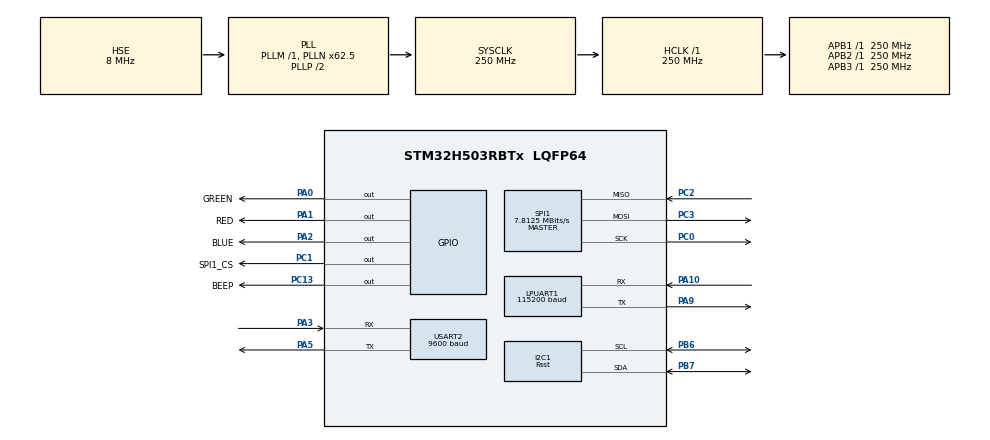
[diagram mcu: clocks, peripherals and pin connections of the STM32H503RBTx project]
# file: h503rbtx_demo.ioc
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BOOTPATH.BootPathName=LEGACY
BOOTPATH.UserSelectedBootPath=LEGACY
I2C1.I2C_Speed_Mode=I2C_Fast
I2C1.Timing=0x10C043E5
LPUART1.BaudRate=115200
Mcu.Family=STM32H5
Mcu.Name=STM32H503RBTx
Mcu.Package=LQFP64
NVIC.I2C1_ER_IRQn=true\:0\:0\:false\:false\:true\:true\:true\:true
NVIC.I2C1_EV_IRQn=true\:0\:0\:false\:false\:true\:true\:true\:true
NVIC.LPUART1_IRQn=true\:0\:0\:false\:false\:true\:true\:true\:true
NVIC.PriorityGroup=NVIC_PRIORITYGROUP_4
NVIC.SPI1_IRQn=true\:0\:0\:false\:false\:true\:true\:true\:true
NVIC.USART2_IRQn=true\:0\:0\:false\:false\:true\:true\:true\:true
PA0.GPIO_Label=GREEN
PA0.GPIO_PuPd=GPIO_NOPULL
PA0.PinState=GPIO_PIN_SET
PA0.Signal=GPIO_Output
PA1.GPIO_Label=RED
PA1.GPIO_PuPd=GPIO_NOPULL
PA1.PinState=GPIO_PIN_SET
PA1.Signal=GPIO_Output
PA10.Mode=Asynchronous
PA10.Signal=LPUART1_RX
PA13(JTMS/SWDIO).Mode=Serial_Wire
PA13(JTMS/SWDIO).Signal=DEBUG_JTMS-SWDIO
PA14(JTCK/SWCLK).Mode=Serial_Wire
PA14(JTCK/SWCLK).Signal=DEBUG_JTCK-SWCLK
PA2.GPIO_Label=BLUE
PA2.GPIO_PuPd=GPIO_NOPULL
PA2.PinState=GPIO_PIN_SET
PA2.Signal=GPIO_Output
PA3.GPIO_ModeDefaultPP=GPIO_MODE_AF_OD
PA3.GPIO_PuPd=GPIO_PULLUP
PA3.GPIO_Speed=GPIO_SPEED_FREQ_VERY_HIGH
PA3.Mode=Asynchronous
PA3.Signal=USART2_RX
PA5.GPIO_ModeDefaultPP=GPIO_MODE_AF_OD
PA5.GPIO_PuPd=GPIO_PULLUP
PA5.GPIO_Speed=GPIO_SPEED_FREQ_VERY_HIGH
PA5.Mode=Asynchronous
PA5.Signal=USART2_TX
PA9.Mode=Asynchronous
PA9.Signal=LPUART1_TX
PB6.GPIO_FM6=SBS_FASTMODEPLUS_PB6
PB6.Mode=I2C
PB6.Signal=I2C1_SCL
PB7.GPIO_FM7=SBS_FASTMODEPLUS_PB7
PB7.Mode=I2C
PB7.Signal=I2C1_SDA
PC0.GPIO_Mode=GPIO_MODE_AF_PP
PC0.GPIO_PuPd=GPIO_NOPULL
PC0.GPIO_Speed=GPIO_SPEED_FREQ_VERY_HIGH
PC0.Mode=Full_Duplex_Master
PC0.Signal=SPI1_SCK
PC1.GPIO_Label=SPI1_CS
PC1.GPIO_ModeDefaultOutputPP=GPIO_MODE_OUTPUT_PP
PC1.GPIO_PuPd=GPIO_PULLUP
PC1.GPIO_Speed=GPIO_SPEED_FREQ_VERY_HIGH
PC1.Signal=GPIO_Output
PC13.GPIO_Label=BEEP
PC13.GPIO_ModeDefaultOutputPP=GPIO_MODE_OUTPUT_PP
PC13.GPIO_PuPd=GPIO_PULLUP
PC13.PinState=GPIO_PIN_SET
PC13.Signal=GPIO_Output
PC2.GPIO_PuPd=GPIO_NOPULL
PC2.GPIO_Speed=GPIO_SPEED_FREQ_VERY_HIGH
PC2.Mode=Full_Duplex_Master
PC2.Signal=SPI1_MISO
PC3.GPIO_PuPd=GPIO_NOPULL
PC3.GPIO_Speed=GPIO_SPEED_FREQ_VERY_HIGH
PC3.Mode=Full_Duplex_Master
PC3.Signal=SPI1_MOSI
PH0-OSC_IN(PH0).Mode=HSE-External-Oscillator
PH0-OSC_IN(PH0).Signal=RCC_OSC_IN
PH1-OSC_OUT(PH1).Mode=HSE-External-Oscillator
PH1-OSC_OUT(PH1).Signal=RCC_OSC_OUT
ProjectManager.HeapSize=0x200
ProjectManager.StackSize=0x400
ProjectManager.TargetToolchain=EWARM V9.20
RCC.ADCFreq_Value=250000000
RCC.AHBFreq_Value=250000000
RCC.APB1Freq_Value=250000000
RCC.APB1TimFreq_Value=250000000
RCC.APB2Freq_Value=250000000
RCC.APB2TimFreq_Value=250000000
RCC.APB3Freq_Value=250000000
RCC.CSI_VALUE=4000000
RCC.CortexFreq_Value=250000000
RCC.EPOD_VALUE=8000000
RCC.HCLKFreq_Value=250000000
RCC.HSE_VALUE=8000000
RCC.HSI48_VALUE=48000000
RCC.HSI_VALUE=64000000
RCC.LSE_VALUE=32768
RCC.LSIRC_VALUE=32000
RCC.PLLFRACN=4096
RCC.PLLN=62
RCC.PLLSourceVirtual=RCC_PLL1_SOURCE_HSE
RCC.SYSCLKFreq_VALUE=250000000
RCC.SYSCLKSource=RCC_SYSCLKSOURCE_PLLCLK
RCC.USBFreq_Value=48000000
RCC.VCOOutputFreq_Value=500000000
SPI1.BaudRatePrescaler=SPI_BAUDRATEPRESCALER_32
SPI1.CalculateBaudRate=7.8125 MBits/s
SPI1.DataSize=SPI_DATASIZE_8BIT
SPI1.Direction=SPI_DIRECTION_2LINES
SPI1.Mode=SPI_MODE_MASTER
SPI1.VirtualNSS=VM_NSSHARD
SPI1.VirtualType=VM_MASTER
USART2.BaudRate=9600
USART2.VirtualMode-Asynchronous=VM_ASYNC
VP_BOOTPATH_VS_BOOTPATH.Mode=BP_Activate
VP_CORTEX_M33_NS_VS_Hclk.Mode=Hclk_Mode
VP_ICACHE_VS_ICACHE.Mode=DefaultMode
VP_MEMORYMAP_VS_MEMORYMAP.Mode=CurAppReg
VP_PWR_VS_DBSignals.Mode=DisableDeadBatterySignals
VP_PWR_VS_LPOM.Mode=PowerOptimisation
VP_PWR_VS_SECSignals.Mode=Security/Privilege
board=custom

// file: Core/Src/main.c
/* USER CODE BEGIN Header */
/**
******************************************************************************
* @file           : main.c
* @brief          : Main program body
******************************************************************************
* @attention
*
* Copyright (c) 2024 STMicroelectronics.
* All rights reserved.
*
* This software is licensed under terms that can be found in the LICENSE file
* in the root directory of this software component.
* If no LICENSE file comes with this software, it is provided AS-IS.
*
******************************************************************************
*/
/* USER CODE END Header */
#include "main.h"
#include "i2c.h"
#include "icache.h"
#include "usart.h"
#include "memorymap.h"
#include "spi.h"
#include "gpio.h"

/* USER CODE BEGIN Includes */
#include "stdio.h"
#include "stdint.h"
#include "string.h"
#include "icm42688.h"
#include "m24m02.h"
#include "w25qxx.h"
/* USER CODE END Includes */

/* USER CODE BEGIN PV */
uint8_t rx_data = 0;
uint8_t button_val = 0;
uint8_t hello1[] = "Hello M24M02!";
uint8_t hello2[] = "Hello W25QXX!";
/* USER CODE END PV */

void SystemClock_Config(void);
/* USER CODE BEGIN PFP */
//重定向printf函数到串口
int fputc(int ch, FILE * f)
{
  HAL_UART_Transmit(&hlpuart1, (uint8_t*)&ch, 1, 10);
  return ch;
}

//重定向scanf函数到串口
int fgetc(FILE * F)
{
  uint8_t ch;
  HAL_UART_Receive(&hlpuart1, (uint8_t*)&ch, 1, 10);
  return ch;
}

// 测试键盘功能
void HAL_UART_RxCpltCallback(UART_HandleTypeDef *huart) {
  if (huart->Instance == USART2) {
    if(rx_data >= 0 && rx_data < 0x0c){
      printf("You press button %d.\r\n", rx_data);
      button_val = rx_data;
    }else if(rx_data >= 0x80 && rx_data < 0x8c){
      printf("You release button %d.\r\n", rx_data - 0x80);
    }
    HAL_UART_Receive_IT(&huart2, (uint8_t*)&rx_data, 1);
  }
}

/* USER CODE END PFP */

int main(void)
{

  /* MCU Configuration--------------------------------------------------------*/

  /* Reset of all peripherals, Initializes the Flash interface and the Systick. */
  HAL_Init();

  /* Configure the system clock */
  SystemClock_Config();

  /* Initialize all configured peripherals */
  MX_GPIO_Init();
  MX_ICACHE_Init();
  MX_LPUART1_UART_Init();
  MX_USART2_UART_Init();
  MX_SPI1_Init();
  MX_I2C1_Init();
  /* USER CODE BEGIN 2 */
  printf("Test demo\r\n");
  printf("Press button 1 to test led.\r\n");
  printf("Press button 2 to test beep.\r\n");
  printf("Press button 3 to test icm42688.\r\n");
  printf("Press button 4 to test m24m02.\r\n");
  printf("Press button 5 to test w25qxx.\r\n");
  icm42688_detect();
  m24m02_detect();
  w25q_init();
  uint16_t max_block = w25q_detect();
  icm42688_cfg_inv inv = icm42688_default_init();
  icm42688_raw_val val = {0};
  HAL_UART_Receive_IT(&huart2, (uint8_t*)&rx_data, 1);
  /* USER CODE END 2 */

  /* Infinite loop */
  /* USER CODE BEGIN WHILE */
  while (1)
  {
    switch(button_val)
    {
    case 1:
      HAL_GPIO_WritePin(BEEP_GPIO_Port, BEEP_Pin, 1);
      HAL_GPIO_TogglePin(RED_GPIO_Port, RED_Pin);
      HAL_Delay(300);
      HAL_GPIO_TogglePin(RED_GPIO_Port, RED_Pin);
      HAL_GPIO_TogglePin(GREEN_GPIO_Port, GREEN_Pin);
      HAL_Delay(300);
      HAL_GPIO_TogglePin(GREEN_GPIO_Port, GREEN_Pin);
      HAL_GPIO_TogglePin(BLUE_GPIO_Port, BLUE_Pin);
      HAL_Delay(300);
      HAL_GPIO_TogglePin(BLUE_GPIO_Port, BLUE_Pin);
      break;
    case 2:
      HAL_GPIO_WritePin(BEEP_GPIO_Port, BEEP_Pin, 1);
      HAL_Delay(900);
      HAL_GPIO_WritePin(BEEP_GPIO_Port, BEEP_Pin, 0);
      HAL_Delay(100);
      break;
    case 3:
      HAL_GPIO_WritePin(BEEP_GPIO_Port, BEEP_Pin, 1);
      HAL_Delay(600);
      val = icm42688_get_data(inv);
      printf("Read from ICM42688:\r\n");
      printf("Temperature: %.2f\r\n", val.temperature);
      printf("Acc: %.2f, %.2f, %.2f\r\n", val.acc[0], val.acc[1], val.acc[2]);
      printf("Gyro: %.2f, %.2f, %.2f\r\n", val.gyro[0], val.gyro[1], val.gyro[2]);
      break;
    case 4:
      HAL_GPIO_WritePin(BEEP_GPIO_Port, BEEP_Pin, 1);
      HAL_Delay(1000);
      uint8_t e2prom[20] = {0};
      uint16_t e2prom_addr = 0x0001;
      printf("Write \"%s\" to M24M02.\r\n", hello1);
      m24m02_mem_write(e2prom_addr, hello1, strlen(hello1) + 1);
      HAL_Delay(100);
      m24m02_mem_read(e2prom_addr, e2prom, strlen(hello1) + 1);
      printf("Read from M24M02:\r\n");
      printf("%s\r\n", e2prom);
      break;
    case 5:
      HAL_GPIO_WritePin(BEEP_GPIO_Port, BEEP_Pin, 1);
      HAL_Delay(1000);
      uint8_t flash[20] = {0};
      uint32_t flash_addr = w25q_block2sector_addr(0, 0);
      uint16_t len2 = strlen(hello2);
      printf("Write \"%s\" to W25QXX.\r\n", hello2);
      w25q_write_by_sector(flash_addr, hello2, strlen(hello2) + 1);
      w25q_read_bytes(flash_addr, flash, strlen(hello2) + 1);
      printf("Read from W25QXX:\r\n");
      printf("%s\r\n", flash);
      break;
    }

    /* USER CODE END WHILE */

  }
}

void SystemClock_Config(void)
{
  RCC_OscInitTypeDef RCC_OscInitStruct = {0};
  RCC_ClkInitTypeDef RCC_ClkInitStruct = {0};

  /** Configure the main internal regulator output voltage
  */
  __HAL_PWR_VOLTAGESCALING_CONFIG(PWR_REGULATOR_VOLTAGE_SCALE0);

  while(!__HAL_PWR_GET_FLAG(PWR_FLAG_VOSRDY)) {}

  /** Initializes the RCC Oscillators according to the specified parameters
  * in the RCC_OscInitTypeDef structure.
  */
  RCC_OscInitStruct.OscillatorType = RCC_OSCILLATORTYPE_HSE;
  RCC_OscInitStruct.HSEState = RCC_HSE_ON;
  RCC_OscInitStruct.PLL.PLLState = RCC_PLL_ON;
  RCC_OscInitStruct.PLL.PLLSource = RCC_PLL1_SOURCE_HSE;
  RCC_OscInitStruct.PLL.PLLM = 1;
  RCC_OscInitStruct.PLL.PLLN = 62;
  RCC_OscInitStruct.PLL.PLLP = 2;
  RCC_OscInitStruct.PLL.PLLQ = 2;
  RCC_OscInitStruct.PLL.PLLR = 2;
  RCC_OscInitStruct.PLL.PLLRGE = RCC_PLL1_VCIRANGE_3;
  RCC_OscInitStruct.PLL.PLLVCOSEL = RCC_PLL1_VCORANGE_WIDE;
  RCC_OscInitStruct.PLL.PLLFRACN = 4096;
  if (HAL_RCC_OscConfig(&RCC_OscInitStruct) != HAL_OK)
  {
    Error_Handler();
  }

  /** Initializes the CPU, AHB and APB buses clocks
  */
  RCC_ClkInitStruct.ClockType = RCC_CLOCKTYPE_HCLK|RCC_CLOCKTYPE_SYSCLK
                              |RCC_CLOCKTYPE_PCLK1|RCC_CLOCKTYPE_PCLK2
                              |RCC_CLOCKTYPE_PCLK3;
  RCC_ClkInitStruct.SYSCLKSource = RCC_SYSCLKSOURCE_PLLCLK;
  RCC_ClkInitStruct.AHBCLKDivider = RCC_SYSCLK_DIV1;
  RCC_ClkInitStruct.APB1CLKDivider = RCC_HCLK_DIV1;
  RCC_ClkInitStruct.APB2CLKDivider = RCC_HCLK_DIV1;
  RCC_ClkInitStruct.APB3CLKDivider = RCC_HCLK_DIV1;

  if (HAL_RCC_ClockConfig(&RCC_ClkInitStruct, FLASH_LATENCY_5) != HAL_OK)
  {
    Error_Handler();
  }

  /** Configure the programming delay
  */
  __HAL_FLASH_SET_PROGRAM_DELAY(FLASH_PROGRAMMING_DELAY_2);
}

void Error_Handler(void)
{
  __disable_irq();
  while (1)
  {
  }
}
